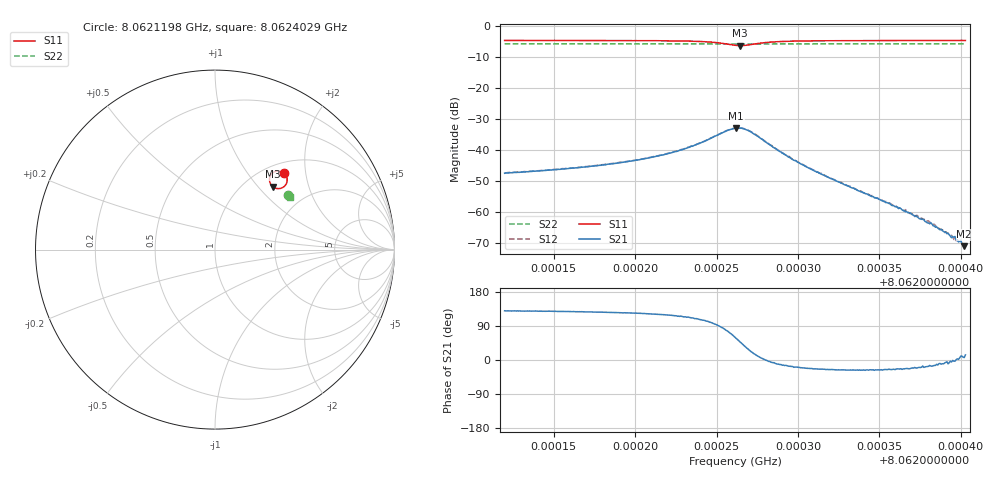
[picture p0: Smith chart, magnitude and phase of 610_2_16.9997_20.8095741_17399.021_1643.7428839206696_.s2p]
#  HZ  S  RI  R  50.00
! Rohde & Schwarz Vector Network Analyzer
! Rohde-Schwarz,ZNB20-2Port,1311601062101988,3.16
! Created: UTC 3/20/2024, 11:19:24 PM
! freq[Hz]  re:S11  im:S11  re:S21  im:S21  re:S12  im:S12  re:S22  im:S22
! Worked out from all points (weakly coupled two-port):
!   401 points, 8.0621198 GHz to 8.0624029 GHz, reference 50 ohm
!   highest |S21| = -33.02 dB at 8.0622621 GHz (marker M1); lowest = -71.1 dB at 8.0624022 GHz (marker M2)
!   lowest |S11| = -6.4 dB at 8.0622642 GHz (marker M3), VSWR 2.82, Z = 66.5 + j60.2 ohm
!   |S11| at or under -10 dB: nowhere
!   |S22| runs from -6.0 to -5.9 dB; largest |S21 - S12| = 0.0014
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8.06211982e9  0.3856 0.4278  -0.00268 0.00321  -0.00251 0.00344  0.407 0.3049
8.06216723e9  0.3911 0.4217  -0.00318 0.00414  -0.00295 0.0044  0.4086 0.302
8.06219129e9  0.3946 0.4165  -0.00356 0.0051  -0.00327 0.00537  0.4096 0.3008
8.06221465e9  0.3991 0.4074  -0.00403 0.00692  -0.00364 0.00721  0.4105 0.2992
8.06223022e9  0.4023 0.3954  -0.0042 0.00942  -0.00359 0.00968  0.4112 0.2978
8.06224154e9  0.4015 0.379  -0.00346 0.0129  -0.0028 0.0131  0.411 0.2967
8.0622472e9  0.397 0.3663  -0.00221 0.0155  -0.00127 0.0156  0.411 0.296
8.06225711e9  0.3663 0.3414  0.00528 0.02  0.00645 0.0197  0.4095 0.2948
8.06226136e9  0.3403 0.3413  0.011 0.0193  0.0122 0.0186  0.4087 0.2948
8.06226206e9  0.3357 0.3428  0.012 0.0188  0.0131 0.0183  0.4083 0.295
8.06226419e9  0.3226 0.35  0.0147 0.0168  0.0157 0.016  0.408 0.2953
8.06227056e9  0.3035 0.3871  0.0179 0.00817  0.0186 0.00715  0.4078 0.2969
8.06228117e9  0.3225 0.4281  0.0128 -0.000331  0.0129 -0.00121  0.4096 0.2981
8.06229533e9  0.3484 0.4384  0.0071 -0.00214  0.007 -0.00271  0.4113 0.2974
8.06230877e9  0.3612 0.4379  0.00441 -0.00183  0.00432 -0.00213  0.4123 0.2966
8.06233e9  0.3718 0.435  0.00236 -0.00118  0.00233 -0.00131  0.4135 0.2952
8.06235619e9  0.3788 0.4318  0.00124 -0.000565  0.00122 -0.000685  0.4147 0.2938
8.06238025e9  0.383 0.4293  0.000632 -0.00019  0.000667 -0.00025  0.4154 0.2926
8.06239299e9  0.3846 0.4282  0.000424 -5.03e-05  0.000422 -8.85e-05  0.4161 0.2918
8.06239653e9  0.3852 0.4278  0.0004 -2.19e-05  0.000384 -4.17e-05  0.416 0.2917
8.06240219e9  0.3859 0.4273  0.000278 3.17e-05  0.000301 5.52e-05  0.4164 0.2912
8.0624029e9  0.3859 0.4274  0.000287 6.84e-05  0.000299 4.48e-05  0.4165 0.2911
